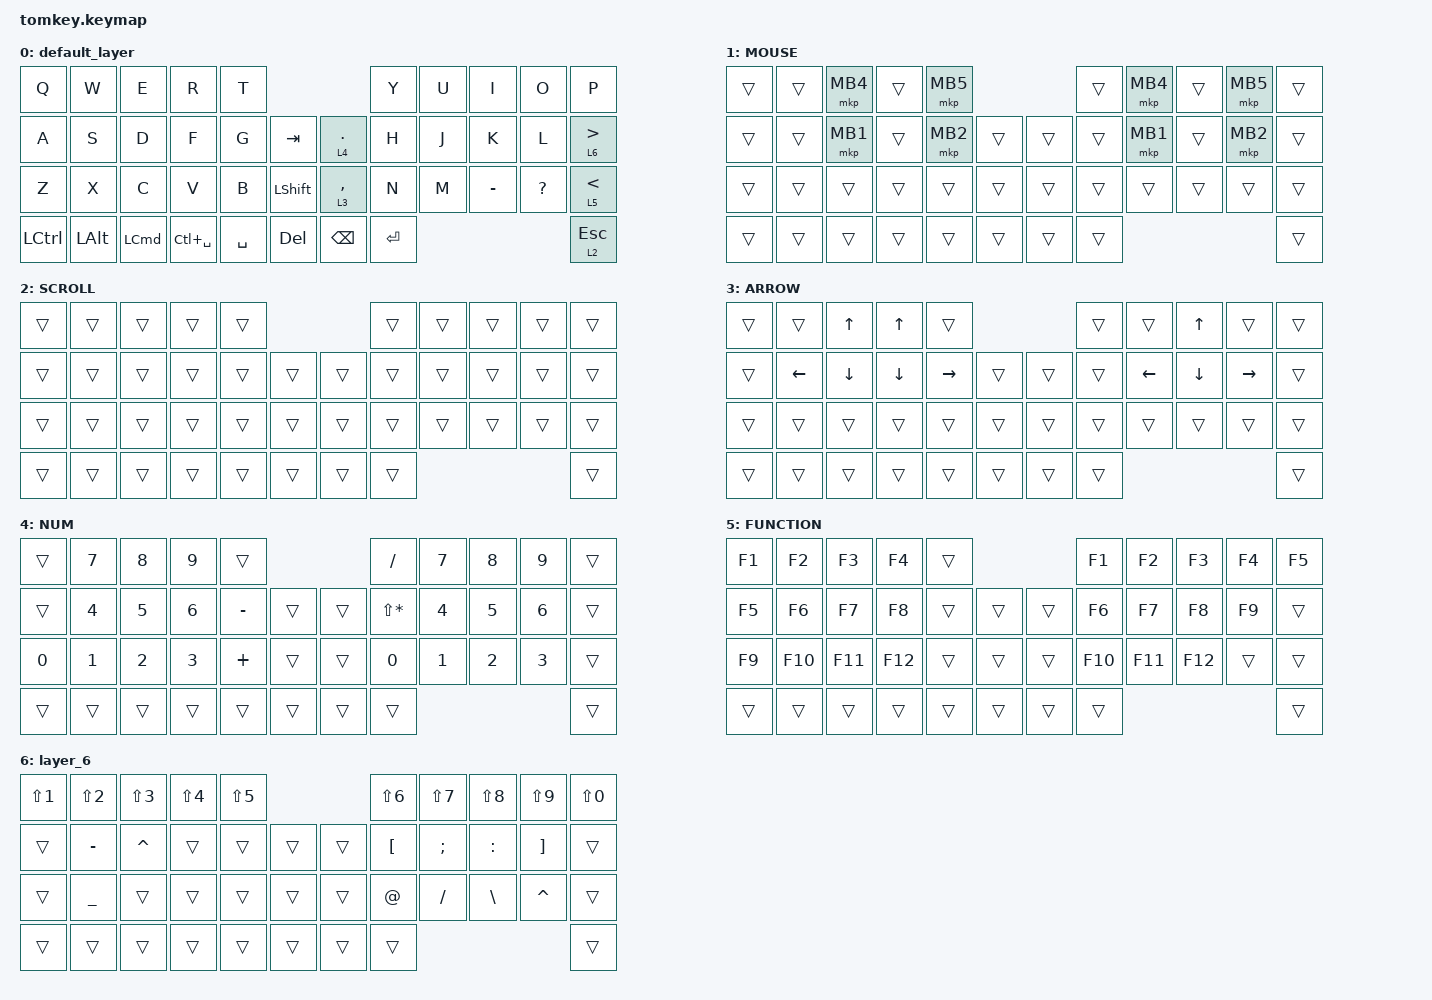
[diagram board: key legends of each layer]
#include <behaviors.dtsi>
#include <dt-bindings/zmk/keys.h>
#include <dt-bindings/zmk/pointing.h>

/ {
    keymap {
        compatible = "zmk,keymap";

        default_layer {
            bindings = <
&kp Q      &kp W         &kp E             &kp R          &kp T                                         &kp Y       &kp U  &kp I      &kp O         &kp P
&kp A      &kp S         &kp D             &kp F          &kp G      &kp TAB             &lt 4 PERIOD   &kp H       &kp J  &kp K      &kp L         &lt 6 GREATER_THAN
&kp Z      &kp X         &kp C             &kp V          &kp B      &kp LEFT_SHIFT      &lt 3 COMMA    &kp N       &kp M  &kp MINUS  &kp QUESTION  &lt 5 LESS_THAN
&kp LCTRL  &kp LEFT_ALT  &kp LEFT_COMMAND  &kp LC(SPACE)  &kp SPACE  &kp DEL             &kp BACKSPACE  &kp RETURN                                  &lt 2 ESCAPE
            >;
        };

        MOUSE {
            bindings = <
&trans  &trans  &mkp MB4  &trans  &mkp MB5                      &trans  &mkp MB4  &trans  &mkp MB5  &trans
&trans  &trans  &mkp MB1  &trans  &mkp MB2  &trans      &trans  &trans  &mkp MB1  &trans  &mkp MB2  &trans
&trans  &trans  &trans    &trans  &trans    &trans      &trans  &trans  &trans    &trans  &trans    &trans
&trans  &trans  &trans    &trans  &trans    &trans      &trans  &trans                              &trans
            >;
        };

        SCROLL {
            bindings = <
&trans  &trans  &trans  &trans  &trans                      &trans  &trans  &trans  &trans  &trans
&trans  &trans  &trans  &trans  &trans  &trans      &trans  &trans  &trans  &trans  &trans  &trans
&trans  &trans  &trans  &trans  &trans  &trans      &trans  &trans  &trans  &trans  &trans  &trans
&trans  &trans  &trans  &trans  &trans  &trans      &trans  &trans                          &trans
            >;
        };

        ARROW {
            bindings = <
&trans  &trans    &kp UP_ARROW    &kp UP_ARROW    &trans                         &trans  &trans    &kp UP_ARROW    &trans     &trans
&trans  &kp LEFT  &kp DOWN_ARROW  &kp DOWN_ARROW  &kp RIGHT  &trans      &trans  &trans  &kp LEFT  &kp DOWN_ARROW  &kp RIGHT  &trans
&trans  &trans    &trans          &trans          &trans     &trans      &trans  &trans  &trans    &trans          &trans     &trans
&trans  &trans    &trans          &trans          &trans     &trans      &trans  &trans                                       &trans
            >;
        };

        NUM {
            bindings = <
&trans  &kp NUMBER_7  &kp NUMBER_8  &kp N9        &trans                         &kp SLASH         &kp NUMBER_7  &kp NUMBER_8  &kp NUMBER_9  &trans
&trans  &kp NUMBER_4  &kp NUMBER_5  &kp NUMBER_6  &kp MINUS  &trans      &trans  &kp LS(ASTERISK)  &kp NUMBER_4  &kp NUMBER_5  &kp NUMBER_6  &trans
&kp N0  &kp NUMBER_1  &kp NUMBER_2  &kp NUMBER_3  &kp PLUS   &trans      &trans  &kp NUMBER_0      &kp NUMBER_1  &kp NUMBER_2  &kp NUMBER_3  &trans
&trans  &trans        &trans        &trans        &trans     &trans      &trans  &trans                                                      &trans
            >;
        };

        FUNCTION {
            bindings = <
&kp F1  &kp F2   &kp F3   &kp F4   &trans                      &kp F1   &kp F2   &kp F3   &kp F4  &kp F5
&kp F5  &kp F6   &kp F7   &kp F8   &trans  &trans      &trans  &kp F6   &kp F7   &kp F8   &kp F9  &trans
&kp F9  &kp F10  &kp F11  &kp F12  &trans  &trans      &trans  &kp F10  &kp F11  &kp F12  &trans  &trans
&trans  &trans   &trans   &trans   &trans  &trans      &trans  &trans                             &trans
            >;
        };

        layer_6 {
            bindings = <
&kp LS(NUMBER_1)  &kp LS(NUMBER_2)  &kp LS(NUMBER_3)  &kp LS(NUMBER_4)  &kp LS(N5)                      &kp LS(NUMBER_6)  &kp LS(NUMBER_7)  &kp LS(NUMBER_8)  &kp LS(NUMBER_9)   &kp LS(NUMBER_0)
&trans            &kp MINUS         &kp CARET         &trans            &trans      &trans      &trans  &kp LEFT_BRACKET  &kp SEMICOLON     &kp COLON         &kp RIGHT_BRACKET  &trans
&trans            &kp UNDERSCORE    &trans            &trans            &trans      &trans      &trans  &kp AT_SIGN       &kp SLASH         &kp BACKSLASH     &kp CARET          &trans
&trans            &trans            &trans            &trans            &trans      &trans      &trans  &trans                                                                   &trans
            >;
        };
    };
};
